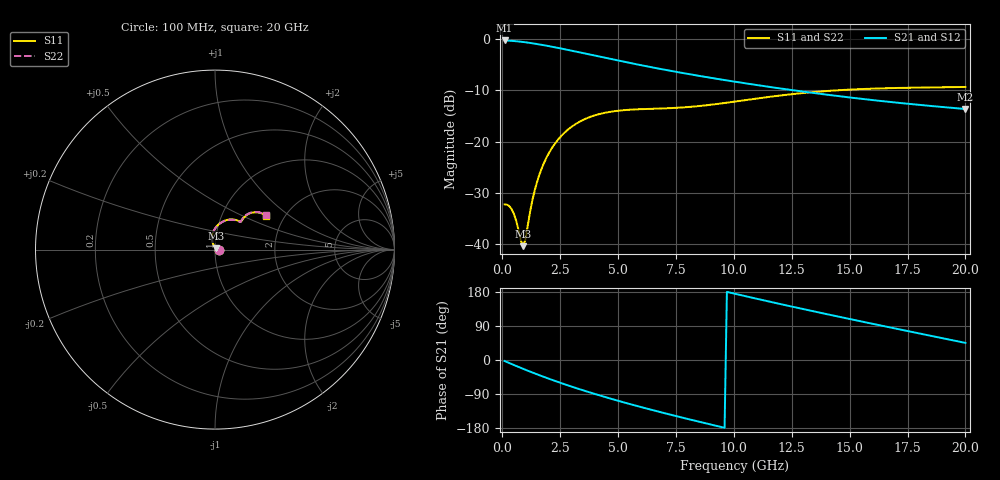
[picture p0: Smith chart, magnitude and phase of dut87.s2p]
! Touchstone file exported from HFSS 2024.1.0
!  File:  C:/UserFiles/LocalFiles/RDL_TSV_Batchsim/temp_RDL_TSV_87_1779416060.aedt
!  Generated:  10:33:17 AM May 22, 2026
!  Design:  RDL_TSV
!  Project:  temp_RDL_TSV_87_1779416060
!  Setup:  Setup1
!  Solution:  Sweep
! Variables:
!  dtsv = 12.98um
!  hbump = 3um
!  htsv = 99.97um
!  ldown = 619.8um
!  lrdl = 624.42um
!  p = 40
!  p1 = 41.56um
!  rhole = 10um
!  subl = 4357.08um
!  t = 450um
!  tdown = 4.92um
!  trdl = 3.28um
!  viad = 10um
!  wdown = 16.66um
!  wrdl = 16.36um
!  xbump = 18um
# GHz S MA R 50.000000
! Terminal data exported
! Port[1] = TM1_1_T1
! Port[2] = TM1_4_T1
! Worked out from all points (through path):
!   200 points, 100 MHz to 20 GHz, reference 50 ohm
!   highest |S21| = -0.22 dB at 100 MHz (marker M1); lowest = -13.6 dB at 20 GHz (marker M2)
!   group delay of S21, straight-line fit = 41.6 ps
!   lowest |S11| = -40.4 dB at 900 MHz (marker M3), VSWR 1.02, Z = 50.6 + j0.749 ohm
!   |S11| at or under -10 dB: start of sweep to 14.35 GHz
!   |S22| runs from -40.4 to -9.3 dB; largest |S21 - S12| = 8.2e-15
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0.1  0.02435 1.3  0.9749 -2.7  0.9749 -2.7  0.02435 1.3
! Gamma 0 0 0 0
! Port Impedance 50 0 50 0
0.3  0.02347 1.5  0.9701 -8.0  0.9701 -8.0  0.02349 1.5
0.5  0.01971 1.9  0.9627 -13.2  0.9627 -13.2  0.01976 1.9
0.8  0.01084 25.5  0.9479 -20.8  0.9479 -20.8  0.01092 24.9
0.9  0.009508 51.2  0.9421 -23.3  0.9421 -23.3  0.009525 50.2
1  0.01109 79.0  0.9358 -25.8  0.9358 -25.8  0.01101 78.1
1.2  0.02061 104.4  0.9222 -30.7  0.9222 -30.7  0.02038 104.0
1.4  0.03338 109.4  0.9075 -35.4  0.9075 -35.4  0.03305 109.1
1.6  0.04737 108.5  0.8919 -40.1  0.8919 -40.1  0.04694 108.4
1.9  0.06908 103.9  0.8674 -46.9  0.8674 -46.9  0.0685 103.8
2.6  0.117 90.1  0.808 -62.1  0.808 -62.1  0.116 90.0
3.5  0.1635 74.1  0.7327 -80.2  0.7327 -80.2  0.162 74.0
4.3  0.1886 63.1  0.6703 -95.2  0.6703 -95.2  0.1867 63.1
5.1  0.2016 55.3  0.614 -109.3  0.614 -109.3  0.1993 55.3
5.9  0.2073 50.3  0.564 -122.7  0.564 -122.7  0.2048 50.4
6.8  0.2105 47.6  0.5149 -137.1  0.5149 -137.1  0.208 47.9
8.3  0.2205 47.3  0.4472 -159.9  0.4472 -159.9  0.2183 47.8
10.1  0.2472 47.9  0.3836 174.0  0.3836 174.0  0.2458 48.5
11.7  0.277 46.4  0.3386 151.8  0.3386 151.8  0.2763 46.9
13.4  0.3046 43.1  0.2998 129.0  0.2998 129.0  0.3043 43.6
16.7  0.3332 36.5  0.2449 86.5  0.2449 86.5  0.3331 36.9
20  0.3423 33.4  0.2084 45.2  0.2084 45.2  0.3422 33.8
